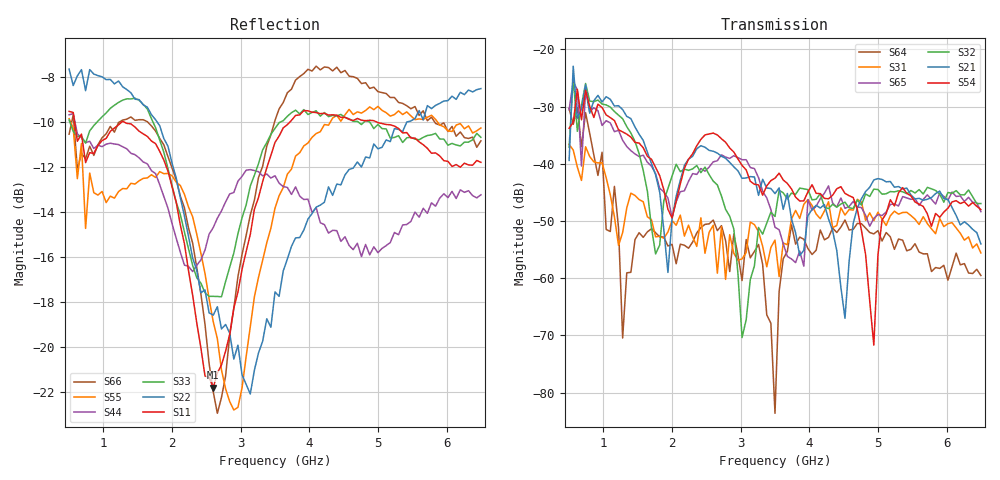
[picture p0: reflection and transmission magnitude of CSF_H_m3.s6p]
!Keysight Technologies,M9804A,MY58100912,A.14.10.03
!Date: Thursday, April 27, 2023 10:28:33
!Correction: S11(C  6-Port  )
!S12(C  6-Port  )
!S13(C  6-Port  )
!S14(C  6-Port  )
!S15(C  6-Port  )
!S16(C  6-Port  )
!S21(C  6-Port  )
!S22(C  6-Port  )
!S23(C  6-Port  )
!S24(C  6-Port  )
!S25(C  6-Port  )
!S26(C  6-Port  )
!S31(C  6-Port  )
!S32(C  6-Port  )
!S33(C  6-Port  )
!S34(C  6-Port  )
!S35(C  6-Port  )
!S36(C  6-Port  )
!S41(C  6-Port  )
!S42(C  6-Port  )
!S43(C  6-Port  )
!S44(C  6-Port  )
!S45(C  6-Port  )
!S46(C  6-Port  )
!S51(C  6-Port  )
!S52(C  6-Port  )
!S53(C  6-Port  )
!S54(C  6-Port  )
!S55(C  6-Port  )
!S56(C  6-Port  )
!S61(C  6-Port  )
!S62(C  6-Port  )
!S63(C  6-Port  )
!S64(C  6-Port  )
!S65(C  6-Port  )
!S66(C  6-Port  )
!S6P File: Measurement: :
# Hz S  RI  R 50
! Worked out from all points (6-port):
!   101 points, 500 MHz to 6.5 GHz, reference 50 ohm
!   strongest paths, dB at 500 MHz, 2 GHz, 3.5 GHz, 5 GHz, 6.5 GHz:
!     S54: -33.8, -49.4, -42.5, -55.9, -48.0
!     S21: -39.4, -49.6, -45.2, -42.6, -54.0
!     S32: -37.1, -42.1, -49.2, -44.5, -46.9
!     S65: -30.5, -49.3, -51.1, -48.9, -48.4
!     S31: -36.6, -49.9, -53.3, -48.5, -55.6
!     S64: -30.3, -54.1, -83.6, -51.7, -59.5
!   lowest |S11| = -21.8 dB at 2.6 GHz (marker M1), VSWR 1.18, Z = 42.7 + j1.93 ohm
!   |S11| at or under -10 dB: 579.8 MHz to 1.268 GHz (688 MHz wide, 74.5 % of centre); 1.301 GHz to 3.717 GHz (2.417 GHz wide, 96.3 % of centre); 4.981 GHz to end of sweep
